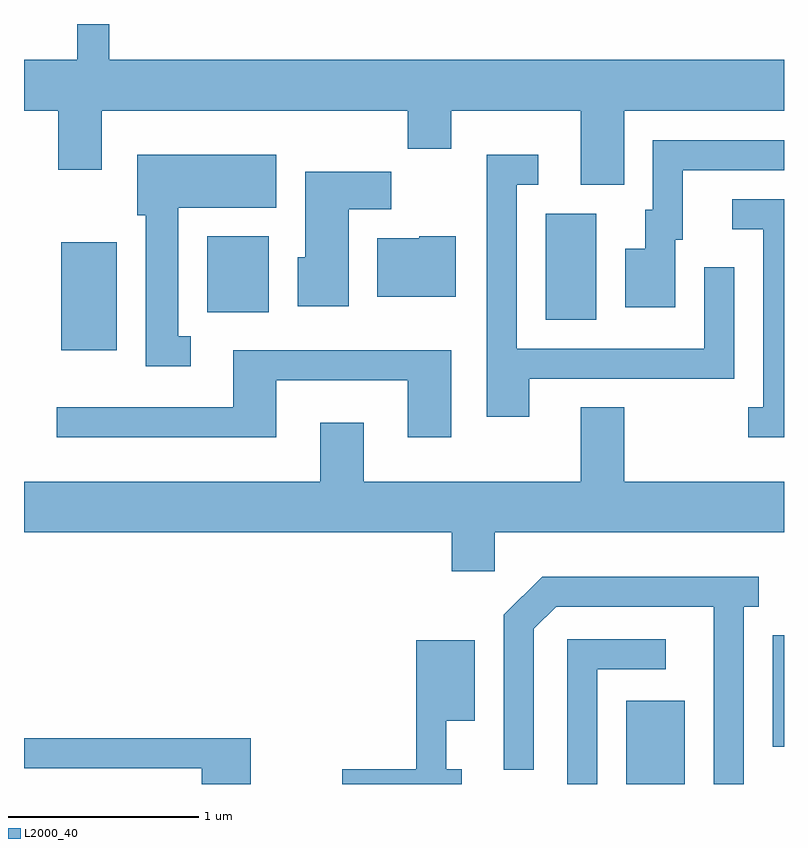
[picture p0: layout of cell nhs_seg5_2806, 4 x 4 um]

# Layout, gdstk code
import gdstk
lib = gdstk.Library(unit=1e-6, precision=1e-09)
def R(c, l, rs):  # rectangles x0, y0, x1, y1
    for r in rs: c.add(gdstk.rectangle(r[:2], r[2:], *l))
def P(c, l, *ps):  # polygons
    for p in ps: c.add(gdstk.Polygon(p, *l))
L2000_40 = (2000, 40)

nhs_seg5_2806 = lib.new_cell('nhs_seg5_2806')
R(nhs_seg5_2806, L2000_40, [(270.781,1522.072,271.089,1522.509), (271.551,1522.268,271.611,1522.854), (267.806,1524.356,268.099,1524.924), (270.356,1524.516,270.624,1525.074), (268.576,1524.556,268.899,1524.954)])
P(nhs_seg5_2806, L2000_40, [(270.769,1525.616),(271.611,1525.616),(271.611,1525.884),(268.059,1525.884),(268.059,1526.072),(267.891,1526.072),(267.891,1525.884),(267.611,1525.884),(267.611,1525.616),(267.791,1525.616),(267.791,1525.306),(268.019,1525.306),(268.019,1525.616),(269.631,1525.616),(269.631,1525.416),(269.859,1525.416),(269.859,1525.616),(270.541,1525.616),(270.541,1525.226),(270.769,1525.226)],
  [(271.039,1524.936),(271.079,1524.936),(271.079,1525.301),(271.611,1525.301),(271.611,1525.459),(270.921,1525.459),(270.921,1525.094),(270.881,1525.094),(270.881,1524.889),(270.776,1524.889),(270.776,1524.581),(271.039,1524.581)],
  [(268.488,1524.429),(268.424,1524.429),(268.424,1525.106),(268.939,1525.106),(268.939,1525.384),(268.206,1525.384),(268.206,1525.066),(268.251,1525.066),(268.251,1524.271),(268.488,1524.271)],
  [(270.269,1524.206),(271.349,1524.206),(271.349,1524.793),(271.191,1524.793),(271.191,1524.364),(270.204,1524.364),(270.204,1525.226),(270.318,1525.226),(270.318,1525.384),(270.046,1525.384),(270.046,1524.006),(270.269,1524.006)],
  [(269.319,1525.096),(269.544,1525.096),(269.544,1525.294),(269.091,1525.294),(269.091,1524.844),(269.051,1524.844),(269.051,1524.586),(269.319,1524.586)],
  [(271.611,1525.149),(271.338,1525.149),(271.338,1524.991),(271.501,1524.991),(271.501,1524.054),(271.423,1524.054),(271.423,1523.896),(271.611,1523.896)],
  [(269.884,1524.954),(269.69,1524.954),(269.69,1524.944),(269.471,1524.944),(269.471,1524.636),(269.884,1524.636)],
  [(268.939,1524.196),(269.631,1524.196),(269.631,1523.896),(269.859,1523.896),(269.859,1524.354),(268.711,1524.354),(268.711,1524.054),(267.783,1524.054),(267.783,1523.896),(268.939,1523.896)],
  [(270.089,1523.396),(271.611,1523.396),(271.611,1523.664),(270.769,1523.664),(270.769,1524.054),(270.541,1524.054),(270.541,1523.664),(269.399,1523.664),(269.399,1523.974),(269.171,1523.974),(269.171,1523.664),(267.611,1523.664),(267.611,1523.396),(269.861,1523.396),(269.861,1523.191),(270.089,1523.191)],
  [(271.399,1523.006),(271.478,1523.006),(271.478,1523.164),(270.339,1523.164),(270.136,1522.962),(270.136,1522.148),(270.294,1522.148),(270.294,1522.889),(270.412,1523.006),(271.241,1523.006),(271.241,1522.072),(271.399,1522.072)],
  [(270.629,1522.676),(270.988,1522.676),(270.988,1522.834),(270.471,1522.834),(270.471,1522.072),(270.629,1522.072)],
  [(269.914,1522.149),(269.834,1522.149),(269.834,1522.406),(269.984,1522.406),(269.984,1522.829),(269.676,1522.829),(269.676,1522.149),(269.286,1522.149),(269.286,1522.072),(269.914,1522.072)],
  [(268.804,1522.314),(267.611,1522.314),(267.611,1522.156),(268.546,1522.156),(268.546,1522.072),(268.804,1522.072)])

lib.write_gds('nhs_seg5_2806.gds')
